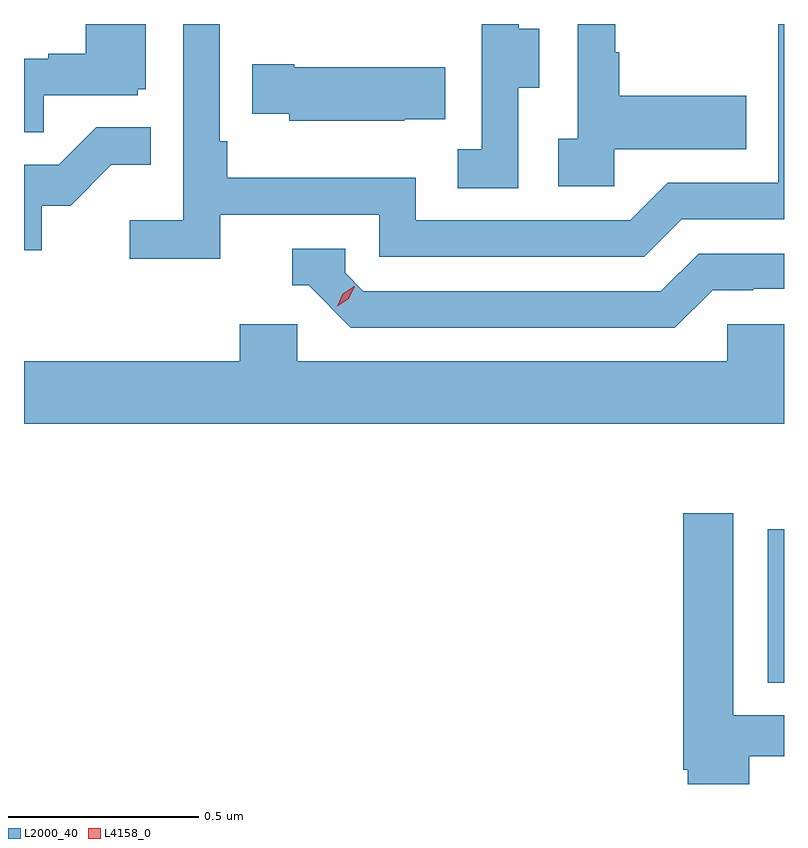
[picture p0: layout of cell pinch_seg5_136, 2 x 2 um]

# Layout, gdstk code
import gdstk
lib = gdstk.Library(unit=1e-6, precision=1e-09)
def R(c, l, rs):  # rectangles x0, y0, x1, y1
    for r in rs: c.add(gdstk.rectangle(r[:2], r[2:], *l))
def P(c, l, *ps):  # polygons
    for p in ps: c.add(gdstk.Polygon(p, *l))
L2000_40 = (2000, 40)
L4158_0 = (4158, 0)

pinch_seg5_136 = lib.new_cell('pinch_seg5_136')
R(pinch_seg5_136, L2000_40, [(1068.458,892.042,1068.501,892.447)])
P(pinch_seg5_136, L2000_40, [(1067.018,893.274),(1067.436,893.274),(1067.436,893.163),(1068.133,893.163),(1068.232,893.262),(1068.501,893.262),(1068.501,893.776),(1068.486,893.776),(1068.486,893.358),(1068.195,893.358),(1068.096,893.259),(1067.532,893.259),(1067.532,893.371),(1067.036,893.371),(1067.036,893.467),(1067.016,893.467),(1067.016,893.776),(1066.92,893.776),(1066.92,893.26),(1066.779,893.26),(1066.779,893.158),(1067.018,893.158)],
  [(1068.054,893.447),(1068.401,893.447),(1068.401,893.587),(1068.067,893.587),(1068.067,893.702),(1068.057,893.702),(1068.057,893.776),(1067.958,893.776),(1067.958,893.474),(1067.907,893.474),(1067.907,893.349),(1068.054,893.349)],
  [(1067.802,893.608),(1067.857,893.608),(1067.857,893.763),(1067.803,893.763),(1067.803,893.776),(1067.705,893.776),(1067.705,893.751),(1067.706,893.751),(1067.706,893.447),(1067.643,893.447),(1067.643,893.344),(1067.802,893.344)],
  [(1066.553,893.589),(1066.8,893.589),(1066.8,893.604),(1066.822,893.604),(1066.822,893.776),(1066.664,893.776),(1066.664,893.698),(1066.565,893.698),(1066.565,893.685),(1066.501,893.685),(1066.501,893.491),(1066.553,893.491)],
  [(1067.501,893.525),(1067.609,893.525),(1067.609,893.662),(1067.212,893.662),(1067.212,893.67),(1067.101,893.67),(1067.101,893.54),(1067.199,893.54),(1067.199,893.522),(1067.501,893.522)],
  [(1066.548,893.298),(1066.624,893.298),(1066.731,893.405),(1066.835,893.405),(1066.835,893.504),(1066.691,893.504),(1066.593,893.406),(1066.501,893.406),(1066.501,893.181),(1066.548,893.181)],
  [(1068.313,893.076),(1068.42,893.076),(1068.42,893.079),(1068.501,893.079),(1068.501,893.172),(1068.276,893.172),(1068.177,893.073),(1067.394,893.073),(1067.346,893.121),(1067.346,893.184),(1067.207,893.184),(1067.207,893.088),(1067.25,893.088),(1067.361,892.977),(1068.214,892.977)],
  [(1068.501,892.986),(1068.351,892.986),(1068.351,892.888),(1067.22,892.888),(1067.22,892.986),(1067.069,892.986),(1067.069,892.888),(1066.501,892.888),(1066.501,892.724),(1068.501,892.724)],
  [(1068.409,891.849),(1068.501,891.849),(1068.501,891.957),(1068.367,891.957),(1068.367,892.489),(1068.236,892.489),(1068.236,891.814),(1068.248,891.814),(1068.248,891.776),(1068.409,891.776)])
P(pinch_seg5_136, L4158_0, [(1067.325,893.033),(1067.325,893.033),(1067.34,893.066),(1067.37,893.086),(1067.371,893.086),(1067.371,893.086),(1067.355,893.053),(1067.325,893.033)])

lib.write_gds('pinch_seg5_136.gds')
